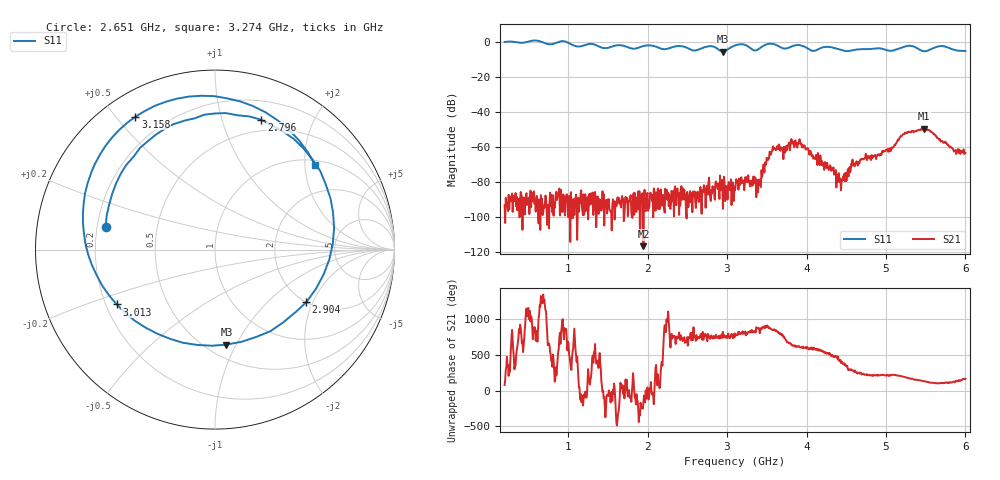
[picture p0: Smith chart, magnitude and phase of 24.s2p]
! NanoVNA-App
! Date: 2024-06-25 16:11:35
! Start: 200MHz Stop: 6GHz Points: 801
! S-Parameter data: F S11 S21 S12 S22
# Hz S RI R 50
!  Frequency  S11_Real  S11_Imag  S21_Real  S21_Imag  S12_Real  S12_Imag  S22_Real  S22_Imag
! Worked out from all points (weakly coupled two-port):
!   801 points, 200 MHz to 6 GHz, reference 50 ohm
!   highest |S21| = -49.62 dB at 5.478 GHz (marker M1); lowest = -116.8 dB at 1.947 GHz (marker M2)
!   lowest |S11| = -5.5 dB at 2.948 GHz (marker M3), VSWR 3.28, Z = 31 - j45.8 ohm
!   |S11| at or under -10 dB: nowhere
!   S12 and S22 are empty: the file has one direction only
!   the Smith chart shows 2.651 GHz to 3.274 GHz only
!   S11 on the Smith chart (normalised r, x): 2.651 GHz: 0.23, +0.10; 2.796 GHz: 0.38, +1.35; 2.904 GHz: 1.99, -1.79; 3.013 GHz: 0.24, -0.25; 3.158 GHz: 0.10, +0.56; 3.274 GHz: 1.12, +2.26
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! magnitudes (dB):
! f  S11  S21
! 200 MHz  0.0  -93.5
! 1.171 GHz  -2.3  -94.3
! 1.947 GHz  -2.2  -116.8
! 2.136 GHz  -3.1  -95.5
! 2.651 GHz  -4.1  -88.3
! 2.796 GHz  -2.3  -91.0
! 2.904 GHz  -4.6  -89.7
! 2.948 GHz  -5.5  -95.5
! 3.013 GHz  -4.0  -82.7
! 3.1 GHz  -1.9  -84.8
! 3.158 GHz  -1.3  -80.6
! 3.274 GHz  -2.7  -80.2
! 3.397 GHz  -4.0  -78.7
! 3.607 GHz  -1.4  -61.1
! 3.883 GHz  -1.7  -60.4
! 4.072 GHz  -5.0  -65.1
! 4.441 GHz  -4.6  -79.3
! 4.593 GHz  -4.5  -69.7
! 5.036 GHz  -4.9  -61.0
! 5.239 GHz  -2.5  -51.8
! 5.478 GHz  -5.2  -49.6
! 6 GHz  -5.1  -63.4
